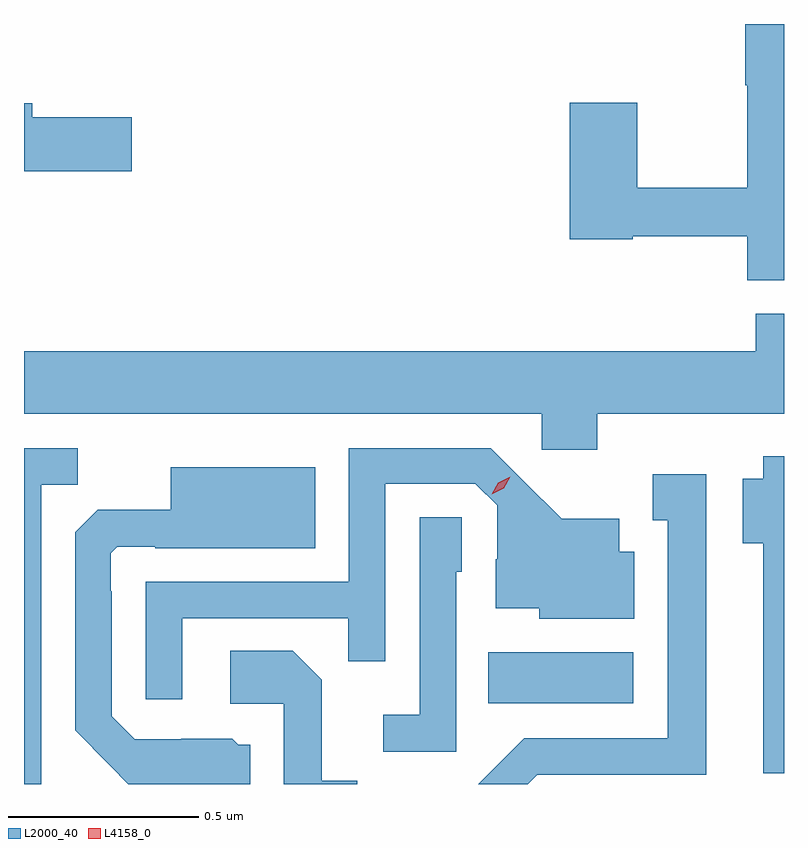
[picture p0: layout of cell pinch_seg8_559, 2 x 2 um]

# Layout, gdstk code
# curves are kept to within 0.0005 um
import gdstk
lib = gdstk.Library(unit=1e-6, precision=1e-09)
def R(c, l, rs):  # rectangles x0, y0, x1, y1
    for r in rs: c.add(gdstk.rectangle(r[:2], r[2:], *l))
def P(c, l, *ps):  # polygons
    for p in ps: c.add(gdstk.Polygon(p, *l))
L2000_40 = (2000, 40)
L4158_0 = (4158, 0)

pinch_seg8_559 = lib.new_cell('pinch_seg8_559')
R(pinch_seg8_559, L2000_40, [(148.912,1121.066,149.293,1121.2)])
P(pinch_seg8_559, L2000_40, [(149.69,1122.853),(149.588,1122.853),(149.588,1122.692),(149.593,1122.692),(149.593,1122.422),(149.304,1122.422),(149.304,1122.646),(149.126,1122.646),(149.126,1122.286),(149.292,1122.286),(149.292,1122.294),(149.593,1122.294),(149.593,1122.179),(149.69,1122.179)],
  [(147.973,1122.608),(147.712,1122.608),(147.712,1122.644),(147.69,1122.644),(147.69,1122.466),(147.973,1122.466)],
  [(149.199,1121.828),(149.69,1121.828),(149.69,1122.091),(149.615,1122.091),(149.615,1121.992),(147.69,1121.992),(147.69,1121.828),(149.052,1121.828),(149.052,1121.733),(149.199,1121.733)],
  [(148.107,1121.289),(148.543,1121.289),(148.543,1121.176),(148.641,1121.176),(148.641,1121.643),(148.878,1121.643),(148.935,1121.586),(148.935,1121.444),(148.931,1121.444),(148.931,1121.315),(149.046,1121.315),(149.046,1121.288),(149.296,1121.288),(149.296,1121.464),(149.257,1121.464),(149.257,1121.551),(149.105,1121.551),(148.918,1121.736),(148.545,1121.736),(148.545,1121.385),(148.011,1121.385),(148.011,1121.076),(148.107,1121.076)],
  [(147.735,1121.641),(147.831,1121.641),(147.831,1121.736),(147.69,1121.736),(147.69,1120.853),(147.735,1120.853)],
  [(149.69,1121.716),(149.636,1121.716),(149.636,1121.656),(149.582,1121.656),(149.582,1121.486),(149.636,1121.486),(149.636,1120.881),(149.69,1120.881)],
  [(148.285,1120.956),(148.254,1120.956),(148.238,1120.972),(148.104,1120.972),(148.104,1120.971),(147.981,1120.971),(147.921,1121.031),(147.921,1121.36),(147.918,1121.36),(147.918,1121.46),(147.936,1121.478),(148.036,1121.478),(148.036,1121.474),(148.456,1121.474),(148.456,1121.686),(148.076,1121.686),(148.076,1121.575),(147.884,1121.575),(147.825,1121.516),(147.825,1120.994),(147.964,1120.853),(148.285,1120.853)],
  [(149.04,1120.878),(149.262,1120.878),(149.262,1120.877),(149.485,1120.877),(149.485,1121.668),(149.345,1121.668),(149.345,1121.547),(149.384,1121.547),(149.384,1120.974),(149.007,1120.974),(148.886,1120.853),(149.015,1120.853)],
  [(148.827,1121.412),(148.842,1121.412),(148.842,1121.555),(148.731,1121.555),(148.731,1121.035),(148.635,1121.035),(148.635,1120.938),(148.827,1120.938)],
  [(148.567,1120.861),(148.473,1120.861),(148.473,1121.128),(148.397,1121.204),(148.233,1121.204),(148.233,1121.064),(148.374,1121.064),(148.374,1120.853),(148.567,1120.853)])
P(pinch_seg8_559, L4158_0, [(148.921,1121.616),(148.921,1121.616),(148.938,1121.646),(148.969,1121.661),(148.97,1121.661),(148.97,1121.661),(148.952,1121.631),(148.921,1121.616)])

lib.write_gds('pinch_seg8_559.gds')
